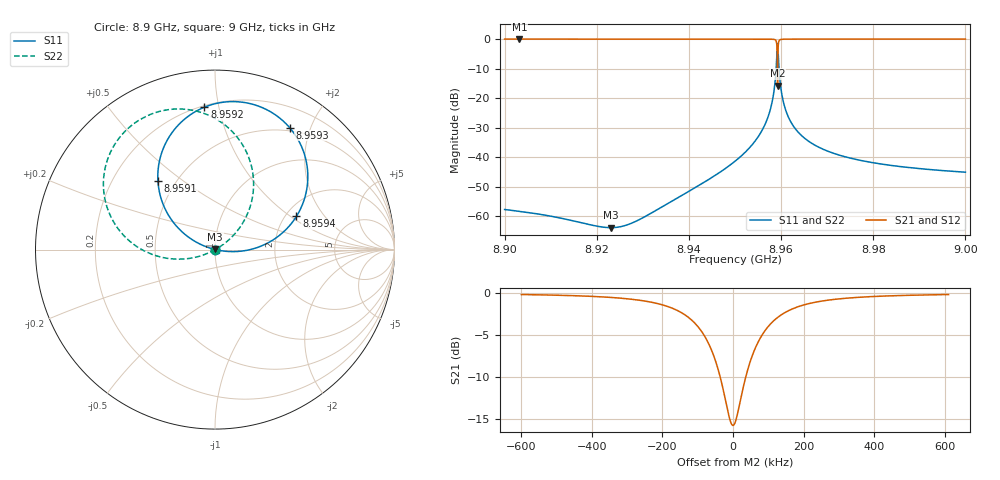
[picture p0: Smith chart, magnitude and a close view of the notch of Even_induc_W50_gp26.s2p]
! Sonnet Data File
! From: emgraph Version : 16.52
! From Emgraph Data: Resonator2_cp_varyW
! Data File Written: 10/09/2017 14:44:31
!< HDATE 10/09/2017 13:29:57
!< MDATE 10/09/2017 13:32:33
!< PARAMS
!< Length = 400.0
!< Pwid1 = 2000.0
!< Width = 50.0
!< gap = 26.0
!< END PARAMS
# GHZ S MA R 50.40000
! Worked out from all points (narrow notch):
!   1595 points, 8.9 GHz to 9 GHz, reference 50.4 ohm
!   highest |S21| = 0.00 dB at 8.9032 GHz (marker M1); lowest = -15.7 dB at 8.9592 GHz (marker M2)
!   notch at M2: 15.7 dB deep, 102 kHz wide at half that depth
!   lowest |S11| = -63.9 dB at 8.9231 GHz (marker M3), VSWR 1.00, Z = 50.4 + j0.0629 ohm
!   |S11| at or under -10 dB: start of sweep to 8.9589 GHz; 8.959548 GHz to end of sweep
!   |S22| runs from -64.0 to -1.6 dB; largest |S21 - S12| = 0
!   S11 on the Smith chart (normalised r, x): 8.9 GHz: 1.00, +0.00; 8.9591 GHz: 0.40, +0.40; 8.9592 GHz: 0.21, +0.91; 8.9593 GHz: 0.45, +1.69; 8.9594 GHz: 2.28, +1.12; 9 GHz: 1.01, -0.00
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8.9  0.001299 16.4  1 -81.6  1 -81.6  0.001298 0.5
!< P1 F=8.9 Eeff=(6.44048165 -2.9687e-5) Z0=(50.4067405 1.16285e-4) R=0.0 C=0.0
!< P2 F=8.9 Eeff=(6.44048165 -2.9687e-5) Z0=(50.4067405 1.16285e-4) R=0.0 C=0.0
8.9032  0.001213 18.8  1 -81.7  1 -81.7  0.001211 -1.8
8.9167  0.0007744 42.5  1 -81.8  1 -81.8  0.0007699 -25.8
8.9231  0.0006404 76.8  1 -81.9  1 -81.9  0.0006329 -60.5
8.9334  0.001329 137.6  1 -82.1  1 -82.1  0.001322 -122.1
8.95  0.008529 161.5  0.9999 -82.6  0.9999 -82.6  0.008523 -147.1
8.9542  0.01805 163.1  0.9997 -83.2  0.9997 -83.2  0.01804 -150.1
8.9569  0.04223 162.5  0.9987 -84.6  0.9987 -84.6  0.04222 -152.9
8.958298  0.1087 158.5  0.9916 -88.5  0.9916 -88.5  0.1087 -158.0
8.958796  0.2281 150.3  0.9629 -95.4  0.9629 -95.4  0.228 -166.6
8.959065  0.4962 129.8  0.8104 -111.7  0.8104 -111.7  0.4961 172.8
8.959195  0.7958 94.2  0.3445 -127.4  0.3445 -127.4  0.7956 137.1
8.959236  0.8366 76.3  0.1635 -81.8  0.1635 -81.8  0.8364 119.1
8.959276  0.7967 58.5  0.3432 -37.0  0.3432 -37.0  0.7965 101.3
8.959329  0.6737 40.0  0.608 -41.1  0.608 -41.1  0.6735 82.7
8.959411  0.4905 22.2  0.8163 -53.1  0.8163 -53.1  0.4903 64.9
8.959623  0.262 4.7  0.9514 -67.1  0.9514 -67.1  0.2619 47.2
8.960107  0.1228 -5.0  0.9896 -75.2  0.9896 -75.2  0.1227 37.2
8.961314  0.05364 -9.4  0.9981 -79.2  0.9981 -79.2  0.05363 32.1
8.9667  0.01709 -10.5  0.9998 -81.3  0.9998 -81.3  0.01709 28.1
8.9834  0.007337 -8.4  1 -82.0  1 -82.0  0.007338 24.4
9  0.005572 -7.1  1 -82.3  1 -82.3  0.005573 22.6
